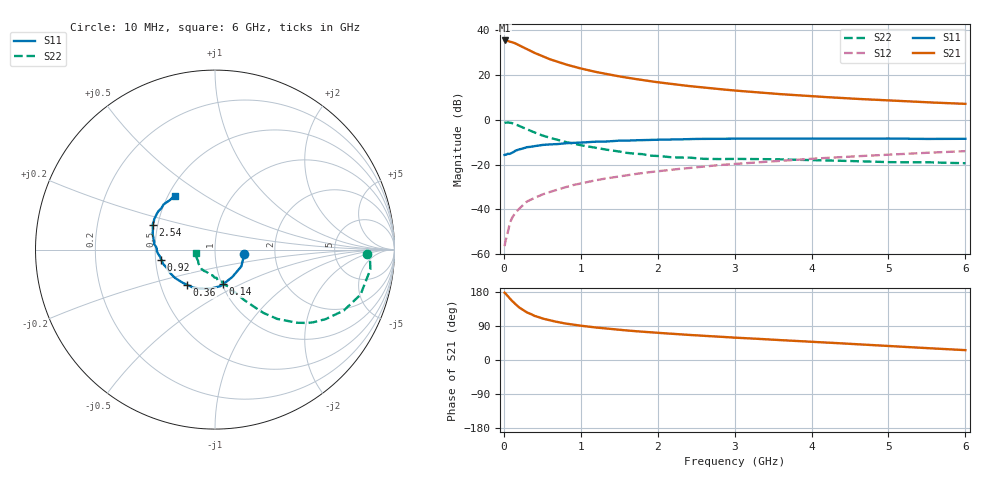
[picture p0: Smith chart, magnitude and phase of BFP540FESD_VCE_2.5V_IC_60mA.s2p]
! Infineon Technologies  Discrete & RF Semiconductors
! BFP540FESD
! VCE =  2.5 V,  IC =  60 mA
! Common Emitter S-Parameters:  Nov 2015
# GHz  S  MA  R  50
!  f  S11  S21  S12  S22
! GHz  MAG  ANG  MAG  ANG  MAG  ANG  MAG  ANG
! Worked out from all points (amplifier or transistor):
!   210 points, 10 MHz to 6 GHz, reference 50 ohm
!   highest |S21| = 35.4 dB at 10 MHz (marker M1)
!   |S21| within 3 dB of that: start of sweep to 249.1 MHz
!   unconditionally stable (mu >= 1): start of sweep to 26.5 MHz; 1.067 GHz to end of sweep
!   at 185 MHz: K = 0.54, MSG = 36.9 dB, |S12| = -40.3 dB
!   at 1.52 GHz: K = 1.05, MAG = 20.9 dB, |S12| = -25.2 dB
!   at 6 GHz: K = 1.18, MAG = 8.0 dB, |S12| = -14.0 dB
!   S11 on the Smith chart (normalised r, x): 10 MHz: 1.39, -0.07; 140 MHz: 1.01, -0.41; 360 MHz: 0.68, -0.28; 920 MHz: 0.54, -0.07; 2.54 GHz: 0.47, +0.15; 6 GHz: 0.54, +0.38
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0.01  0.1637 -8.1  59.12 177.5  0.0015 124.4  0.8462 -1.5
0.02  0.165 -16.7  57.43 175.8  0.0019 108.7  0.8623 -0.8
0.05  0.174 -32.6  57.62 168.8  0.003 91.3  0.8726 -7.3
0.1  0.1811 -58.3  54.64 157.3  0.0061 82.0  0.8487 -17.2
0.14  0.1981 -77.0  51.56 149.5  0.0079 77.9  0.8035 -23.6
0.15  0.2053 -81.0  50.96 147.4  0.0083 77.2  0.7939 -25.3
0.2  0.2182 -95.8  46.2 138.6  0.0103 78.8  0.7285 -32.1
0.3  0.2441 -119.4  37.82 125.6  0.0149 72.6  0.6128 -41.7
0.36  0.2505 -128.6  33.71 120.5  0.0167 72.2  0.5564 -45.2
0.4  0.2581 -134.4  31.16 116.4  0.0179 72.0  0.5201 -48.0
0.5  0.2736 -145.0  26.27 109.5  0.0214 72.9  0.4458 -52.5
0.6  0.282 -152.5  22.44 104.3  0.0244 72.4  0.3936 -55.2
0.78  0.2968 -163.4  17.78 97.1  0.0304 71.7  0.3262 -59.8
0.92  0.3049 -169.4  15.19 92.7  0.0353 71.9  0.2882 -62.4
1.02  0.3095 -173.0  13.75 90.0  0.0384 71.7  0.2668 -64.4
1.5  0.3416 174.9  9.322 79.7  0.0544 68.7  0.1953 -76.1
2.02  0.3597 164.9  6.829 71.4  0.0713 65.8  0.1546 -91.3
2.54  0.3738 158.1  5.363 64.6  0.0879 62.5  0.1365 -106.7
3.1  0.3788 152.4  4.36 58.0  0.1058 58.9  0.133 -118.1
4.1  0.3802 145.4  3.279 47.0  0.1376 52.0  0.1243 -133.9
5.1  0.3793 137.5  2.652 35.9  0.1694 43.8  0.1126 -149.2
6  0.3756 126.7  2.268 26.0  0.1991 36.0  0.107 -170.8
